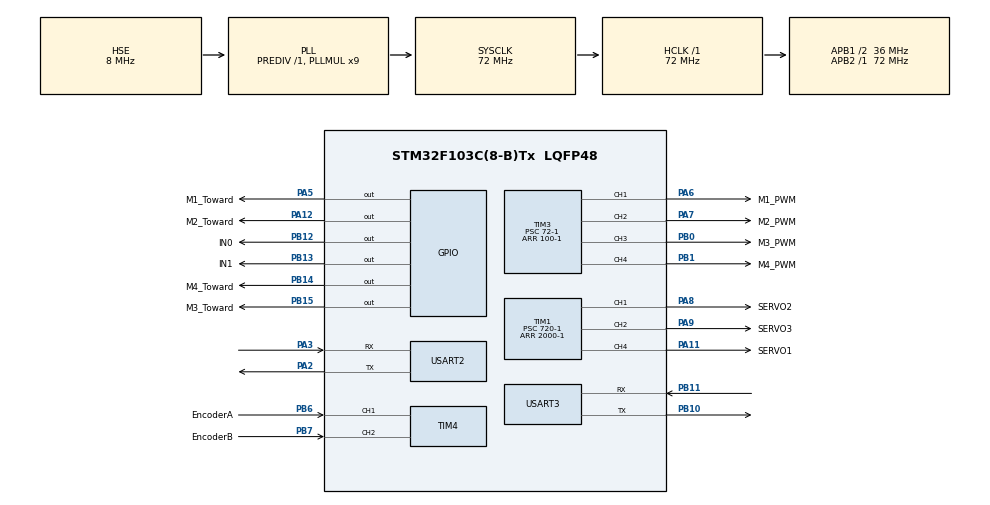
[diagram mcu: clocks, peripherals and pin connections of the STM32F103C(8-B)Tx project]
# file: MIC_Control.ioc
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Dma.Request0=USART2_RX
Dma.Request1=USART2_TX
Dma.Request2=USART3_RX
Dma.Request3=USART3_TX
Dma.USART2_RX.0.Direction=DMA_PERIPH_TO_MEMORY
Dma.USART2_RX.0.Instance=DMA1_Channel6
Dma.USART2_RX.0.MemDataAlignment=DMA_MDATAALIGN_BYTE
Dma.USART2_RX.0.MemInc=DMA_MINC_ENABLE
Dma.USART2_RX.0.Mode=DMA_NORMAL
Dma.USART2_RX.0.PeriphDataAlignment=DMA_PDATAALIGN_BYTE
Dma.USART2_RX.0.PeriphInc=DMA_PINC_DISABLE
Dma.USART2_RX.0.Priority=DMA_PRIORITY_LOW
Dma.USART2_TX.1.Direction=DMA_MEMORY_TO_PERIPH
Dma.USART2_TX.1.Instance=DMA1_Channel7
Dma.USART2_TX.1.MemDataAlignment=DMA_MDATAALIGN_BYTE
Dma.USART2_TX.1.MemInc=DMA_MINC_ENABLE
Dma.USART2_TX.1.Mode=DMA_NORMAL
Dma.USART2_TX.1.PeriphDataAlignment=DMA_PDATAALIGN_BYTE
Dma.USART2_TX.1.PeriphInc=DMA_PINC_DISABLE
Dma.USART2_TX.1.Priority=DMA_PRIORITY_LOW
Dma.USART3_RX.2.Direction=DMA_PERIPH_TO_MEMORY
Dma.USART3_RX.2.Instance=DMA1_Channel3
Dma.USART3_RX.2.MemDataAlignment=DMA_MDATAALIGN_BYTE
Dma.USART3_RX.2.MemInc=DMA_MINC_ENABLE
Dma.USART3_RX.2.Mode=DMA_NORMAL
Dma.USART3_RX.2.PeriphDataAlignment=DMA_PDATAALIGN_BYTE
Dma.USART3_RX.2.PeriphInc=DMA_PINC_DISABLE
Dma.USART3_RX.2.Priority=DMA_PRIORITY_LOW
Dma.USART3_TX.3.Direction=DMA_MEMORY_TO_PERIPH
Dma.USART3_TX.3.Instance=DMA1_Channel2
Dma.USART3_TX.3.MemDataAlignment=DMA_MDATAALIGN_BYTE
Dma.USART3_TX.3.MemInc=DMA_MINC_ENABLE
Dma.USART3_TX.3.Mode=DMA_NORMAL
Dma.USART3_TX.3.PeriphDataAlignment=DMA_PDATAALIGN_BYTE
Dma.USART3_TX.3.PeriphInc=DMA_PINC_DISABLE
Dma.USART3_TX.3.Priority=DMA_PRIORITY_LOW
Mcu.Family=STM32F1
Mcu.Name=STM32F103C(8-B)Tx
Mcu.Package=LQFP48
NVIC.DMA1_Channel2_IRQn=true\:0\:0\:false\:false\:true\:false\:true\:true
NVIC.DMA1_Channel3_IRQn=true\:0\:0\:false\:false\:true\:false\:true\:true
NVIC.DMA1_Channel6_IRQn=true\:0\:0\:false\:false\:true\:false\:true\:true
NVIC.DMA1_Channel7_IRQn=true\:0\:0\:false\:false\:true\:false\:true\:true
NVIC.PriorityGroup=NVIC_PRIORITYGROUP_4
NVIC.TIM2_IRQn=true\:0\:0\:false\:false\:true\:true\:true\:true
NVIC.USART2_IRQn=true\:0\:0\:false\:false\:true\:false\:true\:true
NVIC.USART3_IRQn=true\:0\:0\:false\:false\:true\:false\:true\:true
PA11.GPIO_Label=SERVO1
PA11.Signal=S_TIM1_CH4
PA12.GPIO_Label=M2_Toward
PA12.GPIO_PuPd=GPIO_PULLUP
PA12.GPIO_Speed=GPIO_SPEED_FREQ_HIGH
PA12.PinState=GPIO_PIN_RESET
PA12.Signal=GPIO_Output
PA13.Mode=Serial_Wire
PA13.Signal=SYS_JTMS-SWDIO
PA14.Mode=Serial_Wire
PA14.Signal=SYS_JTCK-SWCLK
PA2.Mode=Asynchronous
PA2.Signal=USART2_TX
PA3.Mode=Asynchronous
PA3.Signal=USART2_RX
PA5.GPIO_Label=M1_Toward
PA5.GPIO_PuPd=GPIO_PULLUP
PA5.GPIO_Speed=GPIO_SPEED_FREQ_HIGH
PA5.Signal=GPIO_Output
PA6.GPIO_Label=M1_PWM
PA6.Signal=S_TIM3_CH1
PA7.GPIO_Label=M2_PWM
PA7.Signal=S_TIM3_CH2
PA8.GPIO_Label=SERVO2
PA8.Signal=S_TIM1_CH1
PA9.GPIO_Label=SERVO3
PA9.Signal=S_TIM1_CH2
PB0.GPIO_Label=M3_PWM
PB0.Signal=S_TIM3_CH3
PB1.GPIO_Label=M4_PWM
PB1.Signal=S_TIM3_CH4
PB10.Mode=Asynchronous
PB10.Signal=USART3_TX
PB11.Mode=Asynchronous
PB11.Signal=USART3_RX
PB12.GPIO_Label=IN0
PB12.GPIO_Speed=GPIO_SPEED_FREQ_HIGH
PB12.PinState=GPIO_PIN_SET
PB12.Signal=GPIO_Output
PB13.GPIO_Label=IN1
PB13.GPIO_PuPd=GPIO_NOPULL
PB13.GPIO_Speed=GPIO_SPEED_FREQ_HIGH
PB13.PinState=GPIO_PIN_SET
PB13.Signal=GPIO_Output
PB14.GPIO_Label=M4_Toward
PB14.GPIO_PuPd=GPIO_PULLUP
PB14.GPIO_Speed=GPIO_SPEED_FREQ_HIGH
PB14.Signal=GPIO_Output
PB15.GPIO_Label=M3_Toward
PB15.GPIO_PuPd=GPIO_PULLUP
PB15.GPIO_Speed=GPIO_SPEED_FREQ_HIGH
PB15.Signal=GPIO_Output
PB6.GPIO_Label=EncoderA
PB6.Signal=S_TIM4_CH1
PB7.GPIO_Label=EncoderB
PB7.Signal=S_TIM4_CH2
PD0-OSC_IN.Mode=HSE-External-Oscillator
PD0-OSC_IN.Signal=RCC_OSC_IN
PD1-OSC_OUT.Mode=HSE-External-Oscillator
PD1-OSC_OUT.Signal=RCC_OSC_OUT
ProjectManager.HeapSize=0x200
ProjectManager.StackSize=0x400
ProjectManager.TargetToolchain=MDK-ARM V5.32
RCC.AHBFreq_Value=72000000
RCC.APB1CLKDivider=RCC_HCLK_DIV2
RCC.APB1Freq_Value=36000000
RCC.APB1TimFreq_Value=72000000
RCC.APB2Freq_Value=72000000
RCC.APB2TimFreq_Value=72000000
RCC.HCLKFreq_Value=72000000
RCC.PLLMUL=RCC_PLL_MUL9
RCC.PLLSourceVirtual=RCC_PLLSOURCE_HSE
RCC.SYSCLKFreq_VALUE=72000000
RCC.SYSCLKSource=RCC_SYSCLKSOURCE_PLLCLK
RCC.USBFreq_Value=72000000
SH.S_TIM1_CH1.0=TIM1_CH1,PWM Generation1 CH1
SH.S_TIM1_CH2.0=TIM1_CH2,PWM Generation2 CH2
SH.S_TIM1_CH4.0=TIM1_CH4,PWM Generation4 CH4
SH.S_TIM3_CH1.0=TIM3_CH1,PWM Generation1 CH1
SH.S_TIM3_CH2.0=TIM3_CH2,PWM Generation2 CH2
SH.S_TIM3_CH3.0=TIM3_CH3,PWM Generation3 CH3
SH.S_TIM3_CH4.0=TIM3_CH4,PWM Generation4 CH4
SH.S_TIM4_CH1.0=TIM4_CH1,Encoder_Interface
SH.S_TIM4_CH2.0=TIM4_CH2,Encoder_Interface
TIM1.Channel-PWM\ Generation1\ CH1=TIM_CHANNEL_1
TIM1.Channel-PWM\ Generation2\ CH2=TIM_CHANNEL_2
TIM1.Channel-PWM\ Generation4\ CH4=TIM_CHANNEL_4
TIM1.Period=2000-1
TIM1.Prescaler=720-1
TIM2.Period=1000-1
TIM2.Prescaler=720-1
TIM3.Channel-PWM\ Generation1\ CH1=TIM_CHANNEL_1
TIM3.Channel-PWM\ Generation2\ CH2=TIM_CHANNEL_2
TIM3.Channel-PWM\ Generation3\ CH3=TIM_CHANNEL_3
TIM3.Channel-PWM\ Generation4\ CH4=TIM_CHANNEL_4
TIM3.OCMode_PWM-PWM\ Generation1\ CH1=TIM_OCMODE_PWM2
TIM3.OCMode_PWM-PWM\ Generation2\ CH2=TIM_OCMODE_PWM2
TIM3.OCMode_PWM-PWM\ Generation3\ CH3=TIM_OCMODE_PWM2
TIM3.OCMode_PWM-PWM\ Generation4\ CH4=TIM_OCMODE_PWM2
TIM3.Period=100-1
TIM3.Prescaler=72-1
TIM4.IC1Filter=15
TIM4.IC2Filter=15
USART2.VirtualMode=VM_ASYNC
USART3.VirtualMode=VM_ASYNC
VP_TIM2_VS_ClockSourceINT.Mode=Internal
VP_TIM3_VS_ClockSourceINT.Mode=Internal
board=custom

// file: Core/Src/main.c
//本版是有点问题的代码，电机会乱转好像，也可能是之前KP，KI，KD设置的有问题

/* USER CODE BEGIN Header */
/**
 ******************************************************************************
 * @file           : main.c
 * @brief          : Main program body
 ******************************************************************************
 * @attention
 *
 * Copyright (c) 2024 STMicroelectronics.
 * All rights reserved.
 *
 * This software is licensed under terms that can be found in the LICENSE file
 * in the root directory of this software component.
 * If no LICENSE file comes with this software, it is provided AS-IS.
 *
 ******************************************************************************
 */
/* USER CODE END Header */
#include "main.h"
#include "dma.h"
#include "tim.h"
#include "usart.h"
#include "gpio.h"

/* USER CODE BEGIN Includes */
#include "ESP32.h"
#include "Motor.h"
#include "UART_ROS.h"
#include "Car_Solution.h"

/* USER CODE END Includes */

void SystemClock_Config(void);

/* USER CODE BEGIN 0 */
uint8_t flag_TIM = 0; // 记录定时器现在是否空闲
int16_t Count_Motor;
// 重写HAL_InTick函数，用于ROS信息的定时请求
uint8_t Tick = 0;
uint8_t Ros_Receive_Error;
void HAL_IncTick(void)
{

  uwTick += uwTickFreq;
  Tick++;
  if (Tick >= 10)
  {
    Tick = 0;
    // 自动模式下，才进行数据请求
    if (flag_Mode == 1)
    {
      Get_RosData();
      HAL_UART_Receive_DMA(&huart3, ROS_ReceiveData, 16);
    }
  }
}

void HAL_TIM_PeriodElapsedCallback(TIM_HandleTypeDef *htim)
{
  // 进入定时器测速
  if (htim == &htim2)
  {
    flag_TIM = 0;
    HAL_TIM_Base_Stop_IT(&htim2);
    Count_Motor = __HAL_TIM_GetCounter(&htim4);

    if (M0 == &M2 || M0 == &M3)
      Count_Motor = -Count_Motor;
    // M0->flag  = Count_Motor > 0 ? 1 : 0;      已经删了flag
    M0->Last_Speed = M0->Speed;
    M0->Speed = Count_Motor;                      // 记录的是10ms内的脉冲数
    M0->Speed = (M0->Speed + M0->Last_Speed) / 2; // 采用均值滤波，防止应定时器开启时机造成的测速偏差

    PI_Motor(M0);
  }
}

void HAL_UART_RxCpltCallback(UART_HandleTypeDef *huart)
{
  // ESP32遥感数据
  if (huart == &huart2)
  {
    if (ESP32_Data[0] != 0xA5 && ESP32_Data[4] != 0x5A)
    {
      HAL_NVIC_SystemReset(); // 接收数据帧错误时重启，可能会引起问题
                              // 方法二，写一个数据缓冲区，有点麻烦
    }
    else
    {
      ESP32_Analysis();
      HAL_UART_Receive_DMA(&huart2, ESP32_Data, 5); // 中断接受ESP32数据，不要用DMA，连续多次发送会造成buff覆盖
                                                    // 使用中断模式，则会一直接收到5个后，才释放串口状态，再开启，我猜
    }
  }
  // 上位机数据
  if (huart == &huart3 && NowMode == 0)
  {
    ROS_DataAnalysis();
    // HAL_UART_Receive_DMA(&huart3,ROS_ReceiveData,100);        //数据处理后再次开启接受 不一定要开
  }
}
/* USER CODE END 0 */

int main(void)
{

  /* MCU Configuration--------------------------------------------------------*/

  /* Reset of all peripherals, Initializes the Flash interface and the Systick. */
  HAL_Init();

  /* Configure the system clock */
  SystemClock_Config();

  /* Initialize all configured peripherals */
  MX_GPIO_Init();
  MX_DMA_Init();
  MX_USART2_UART_Init();
  MX_TIM1_Init();
  MX_TIM2_Init();
  MX_TIM3_Init();
  MX_TIM4_Init();
  MX_USART3_UART_Init();
  /* USER CODE BEGIN 2 */
  HAL_UART_Receive_DMA(&huart2, ESP32_Data, 5); // 开启与ESP32的通信接收

  Struct_Init(0, 0, 0); // 对电机结构体状态的初始化
  Motor_Init();         // 开启电机四路PWM
  Servo_Init();         // 初始化舵机，开启PWM

  HAL_TIM_Encoder_Start(&htim4, TIM_CHANNEL_ALL); // 编码器测速通道开启

  __HAL_TIM_SetCompare(&htim3, TIM_CHANNEL_1, 30);
  __HAL_TIM_SetCompare(&htim3, TIM_CHANNEL_2, 30);
  __HAL_TIM_SetCompare(&htim3, TIM_CHANNEL_3, 30);
  __HAL_TIM_SetCompare(&htim3, TIM_CHANNEL_4, 30);

  //__HAL_TIM_SetCompare(&htim)
  /* USER CODE END 2 */

  /* Infinite loop */
  /* USER CODE BEGIN WHILE */
  while (1)
  {

    if (flag_TIM == 0)
    {
      flag_TIM = 1; // 定时器被占用
      if (Now_Motor == 1)
      {
        Now_Motor++;
        // 444模拟开关切换
        HAL_GPIO_WritePin(GPIOB, GPIO_PIN_12, GPIO_PIN_SET);
        HAL_GPIO_WritePin(GPIOB, GPIO_PIN_13, GPIO_PIN_SET);
        Get_Speed(&M1);
      }
      else if (Now_Motor == 2)
      {
        Now_Motor++;
        // 444模拟开关切换
        HAL_GPIO_WritePin(GPIOB, GPIO_PIN_12, GPIO_PIN_RESET);
        HAL_GPIO_WritePin(GPIOB, GPIO_PIN_13, GPIO_PIN_SET);
        Get_Speed(&M2);
      }
      else if (Now_Motor == 3)
      {
        Now_Motor++;
        // 444模拟开关切换
        HAL_GPIO_WritePin(GPIOB, GPIO_PIN_12, GPIO_PIN_SET);
        HAL_GPIO_WritePin(GPIOB, GPIO_PIN_13, GPIO_PIN_RESET);
        Get_Speed(&M3);
      }
      else if (Now_Motor == 4)
      {
        Now_Motor = 1;
        // 444模拟开关切换
        HAL_GPIO_WritePin(GPIOB, GPIO_PIN_12, GPIO_PIN_RESET);
        HAL_GPIO_WritePin(GPIOB, GPIO_PIN_13, GPIO_PIN_RESET);
        Get_Speed(&M4);
      }
    }
    /* USER CODE END WHILE */

  }
}
void SystemClock_Config(void)
{
  RCC_OscInitTypeDef RCC_OscInitStruct = {0};
  RCC_ClkInitTypeDef RCC_ClkInitStruct = {0};

  /** Initializes the RCC Oscillators according to the specified parameters
   * in the RCC_OscInitTypeDef structure.
   */
  RCC_OscInitStruct.OscillatorType = RCC_OSCILLATORTYPE_HSE;
  RCC_OscInitStruct.HSEState = RCC_HSE_ON;
  RCC_OscInitStruct.HSEPredivValue = RCC_HSE_PREDIV_DIV1;
  RCC_OscInitStruct.HSIState = RCC_HSI_ON;
  RCC_OscInitStruct.PLL.PLLState = RCC_PLL_ON;
  RCC_OscInitStruct.PLL.PLLSource = RCC_PLLSOURCE_HSE;
  RCC_OscInitStruct.PLL.PLLMUL = RCC_PLL_MUL9;
  if (HAL_RCC_OscConfig(&RCC_OscInitStruct) != HAL_OK)
  {
    Error_Handler();
  }

  /** Initializes the CPU, AHB and APB buses clocks
   */
  RCC_ClkInitStruct.ClockType = RCC_CLOCKTYPE_HCLK | RCC_CLOCKTYPE_SYSCLK | RCC_CLOCKTYPE_PCLK1 | RCC_CLOCKTYPE_PCLK2;
  RCC_ClkInitStruct.SYSCLKSource = RCC_SYSCLKSOURCE_PLLCLK;
  RCC_ClkInitStruct.AHBCLKDivider = RCC_SYSCLK_DIV1;
  RCC_ClkInitStruct.APB1CLKDivider = RCC_HCLK_DIV2;
  RCC_ClkInitStruct.APB2CLKDivider = RCC_HCLK_DIV1;

  if (HAL_RCC_ClockConfig(&RCC_ClkInitStruct, FLASH_LATENCY_2) != HAL_OK)
  {
    Error_Handler();
  }
}

void Error_Handler(void)
{
  __disable_irq();
  while (1)
  {
  }
}
